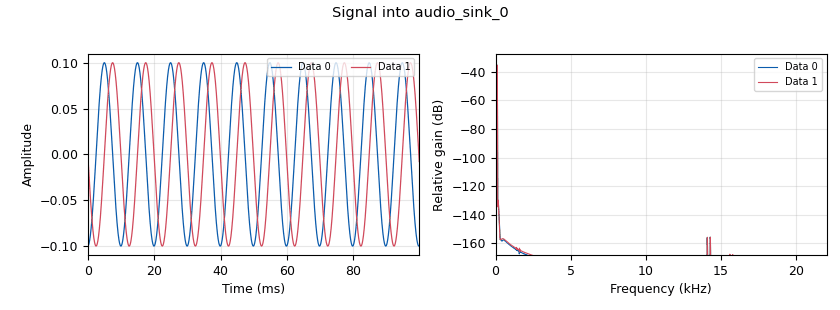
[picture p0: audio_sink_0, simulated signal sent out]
<?xml version='1.0' encoding='utf-8'?>
<?grc format='1' created='3.7.12'?>
<flow_graph>
<block>
<key>options</key>
<param><key>id</key><value>top_block</value></param>
<param><key>generate_options</key><value>qt_gui</value></param>
</block>
<block>
<key>variable_qtgui_range</key>
<param><key>id</key><value>amplitude</value></param>
<param><key>value</key><value>0.1</value></param>
<param><key>orient</key><value>Qt.Horizontal</value></param>
<param><key>start</key><value>0</value></param>
<param><key>step</key><value>0.01</value></param>
<param><key>stop</key><value>1</value></param>
</block>
<block>
<key>variable_qtgui_range</key>
<param><key>id</key><value>frequency</value></param>
<param><key>value</key><value>100</value></param>
<param><key>orient</key><value>Qt.Horizontal</value></param>
<param><key>start</key><value>10</value></param>
<param><key>step</key><value>10</value></param>
<param><key>stop</key><value>1000</value></param>
</block>
<block>
<key>variable</key>
<param><key>id</key><value>samp_rate</value></param>
<param><key>value</key><value>44100</value></param>
</block>
<block>
<key>analog_sig_source_x</key>
<param><key>id</key><value>analog_sig_source_x_0</value></param>
<param><key>amp</key><value>amplitude</value></param>
<param><key>freq</key><value>frequency</value></param>
<param><key>offset</key><value>0</value></param>
<param><key>type</key><value>complex</value></param>
<param><key>samp_rate</key><value>samp_rate</value></param>
<param><key>waveform</key><value>analog.GR_COS_WAVE</value></param>
</block>
<block>
<key>audio_sink</key>
<param><key>id</key><value>audio_sink_0</value></param>
<param><key>num_inputs</key><value>2</value></param>
<param><key>samp_rate</key><value>samp_rate</value></param>
</block>
<block>
<key>audio_source</key>
<param><key>id</key><value>audio_source_0</value></param>
<param><key>num_outputs</key><value>2</value></param>
<param><key>samp_rate</key><value>samp_rate</value></param>
</block>
<block>
<key>blocks_complex_to_float</key>
<param><key>id</key><value>blocks_complex_to_float_0</value></param>
</block>
<block>
<key>qtgui_time_sink_x</key>
<param><key>id</key><value>qtgui_time_sink_x_0</value></param>
<param><key>color1</key><value>"blue"</value></param>
<param><key>label1</key><value></value></param>
<param><key>color2</key><value>"red"</value></param>
<param><key>label2</key><value></value></param>
<param><key>nconnections</key><value>2</value></param>
<param><key>size</key><value>1024</value></param>
<param><key>srate</key><value>samp_rate</value></param>
<param><key>type</key><value>float</value></param>
</block>
<connection><source_block_id>analog_sig_source_x_0</source_block_id><sink_block_id>blocks_complex_to_float_0</sink_block_id><source_key>0</source_key><sink_key>0</sink_key></connection>
<connection><source_block_id>audio_source_0</source_block_id><sink_block_id>qtgui_time_sink_x_0</sink_block_id><source_key>0</source_key><sink_key>0</sink_key></connection>
<connection><source_block_id>audio_source_0</source_block_id><sink_block_id>qtgui_time_sink_x_0</sink_block_id><source_key>1</source_key><sink_key>1</sink_key></connection>
<connection><source_block_id>blocks_complex_to_float_0</source_block_id><sink_block_id>audio_sink_0</sink_block_id><source_key>1</source_key><sink_key>1</sink_key></connection>
<connection><source_block_id>blocks_complex_to_float_0</source_block_id><sink_block_id>audio_sink_0</sink_block_id><source_key>0</source_key><sink_key>0</sink_key></connection>
</flow_graph>
